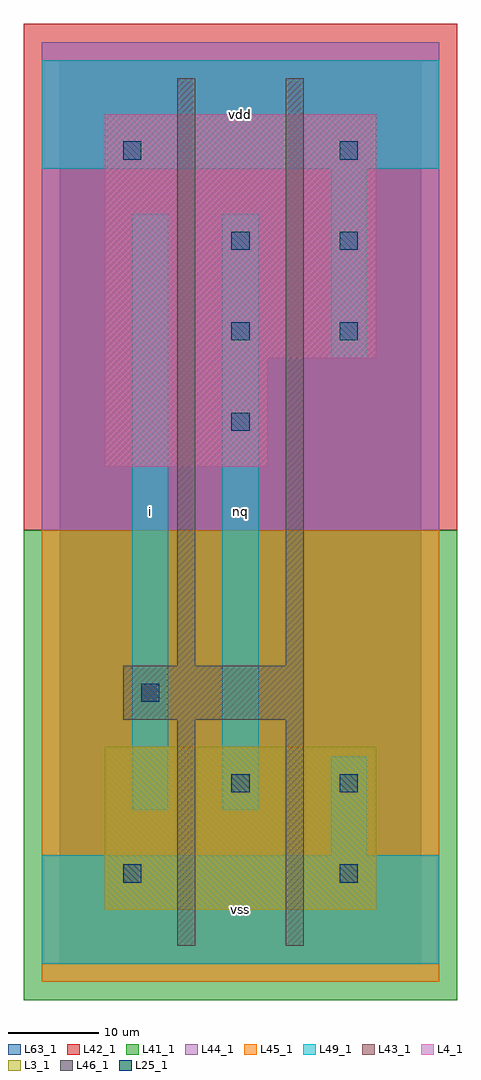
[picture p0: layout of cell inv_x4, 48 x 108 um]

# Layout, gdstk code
import gdstk
lib = gdstk.Library(unit=1e-6, precision=1e-09)
def R(c, l, rs):  # rectangles x0, y0, x1, y1
    for r in rs: c.add(gdstk.rectangle(r[:2], r[2:], *l))
def A(c, l, x, y, w, h, nx, ny, dx, dy):  # array of equal rectangles
    R(c, l, [(x+i*dx, y+j*dy, x+i*dx+w, y+j*dy+h) for i in range(nx) for j in range(ny)])
L3_1 = (3, 1)
L4_1 = (4, 1)
L25_1 = (25, 1)
L41_1 = (41, 1)
L42_1 = (42, 1)
L43_1 = (43, 1)
L44_1 = (44, 1)
L45_1 = (45, 1)
L46_1 = (46, 1)
L49_1 = (49, 1)
L63_1 = (63, 1)

inv_x4 = lib.new_cell('inv_x4')
R(inv_x4, L3_1, [(5,6,35,24)])
R(inv_x4, L4_1, [(5,55,23,67), (5,67,35,94)])
A(inv_x4, L25_1, 19, 59, 2, 2, 1, 3, 0, 10)
A(inv_x4, L25_1, 31, 69, 2, 2, 1, 3, 0, 10)
R(inv_x4, L25_1, [(7,9,9,11), (31,9,33,11), (19,19,21,21), (31,19,33,21), (9,29,11,31), (7,89,9,91)])
R(inv_x4, L41_1, [(-4,-4,44,48)])
R(inv_x4, L42_1, [(-4,48,44,104)])
R(inv_x4, L43_1, [(5,6,35,24), (5,55,23,67), (5,67,35,94)])
R(inv_x4, L44_1, [(-2,48,42,102)])
R(inv_x4, L45_1, [(-2,-2,42,48)])
R(inv_x4, L46_1, [(13,2,15,27), (25,2,27,27), (7,27,27,33), (13,33,15,98), (25,33,27,98)])
R(inv_x4, L49_1, [(-2,0,42,12), (30,12,34,23), (8,17,12,83), (18,17,22,83), (30,67,34,88), (-2,88,42,100)])
R(inv_x4, L63_1, [(0,0,40,100)])
inv_x4.add(gdstk.Label('i', (10,50), layer=49, texttype=1))
inv_x4.add(gdstk.Label('vss', (20,6), layer=49, texttype=1))
inv_x4.add(gdstk.Label('nq', (20,50), layer=49, texttype=1))
inv_x4.add(gdstk.Label('vdd', (20,94), layer=49, texttype=1))

lib.write_gds('inv_x4.gds')
